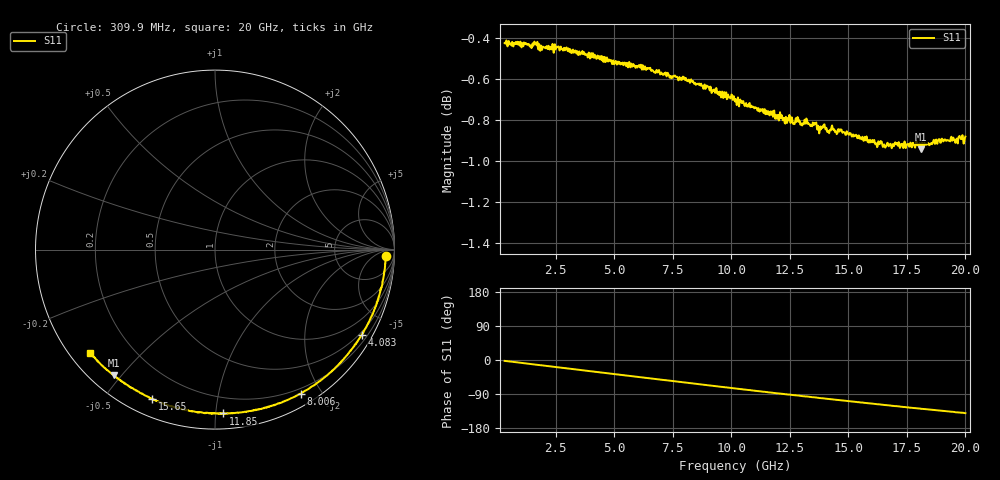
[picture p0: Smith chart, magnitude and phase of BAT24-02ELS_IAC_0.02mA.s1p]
! Infineon Technologies  Discrete & RF Semiconductors
! BAT24-02ELS
! IAC = 0.02 mA
! One-Port S-Parameters
# Hz  S  MA  R  50
!f  S11
!Hz  Mag  Ang
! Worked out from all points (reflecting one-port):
!   789 points, 309.9 MHz to 20 GHz, reference 50 ohm
!   lowest |S11| = -0.9 dB at 18.1 GHz (marker M1), VSWR 18.45, Z = 3.33 - j23.9 ohm
!   phase of S11 starts at -2 deg and turns -138 deg over the sweep
!   S11 on the Smith chart (normalised r, x): 309.9 MHz: 24, -20; 4.083 GHz: 0.40, -3.65; 8.006 GHz: 0.14, -1.75; 11.85 GHz: 0.09, -1.05; 15.65 GHz: 0.07, -0.66; 20 GHz: 0.06, -0.36
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3.0985e8  0.9521 -2.3
8.59575e8  0.9528 -6.4
1.584212e9  0.9528 -11.8
2.783612e9  0.9487 -20.7
3.558225e9  0.9467 -26.5
4.082962e9  0.9467 -30.3
5.232388e9  0.9416 -38.9
5.782112e9  0.9404 -42.9
6.581712e9  0.9373 -48.9
7.70615e9  0.9338 -57.1
8.006e9  0.9333 -59.3
8.980512e9  0.9292 -66.4
1.015492e10  0.9214 -75.1
1.10045e10  0.9185 -81.1
1.185408e10  0.914 -87.1
1.262869e10  0.9101 -92.5
1.355322e10  0.9105 -98.6
1.375312e10  0.9051 -100.4
1.432784e10  0.9079 -103.9
1.507746e10  0.9053 -108.8
1.565218e10  0.9013 -112.9
1.635182e10  0.9001 -117.2
1.655172e10  0.899 -118.8
1.710145e10  0.8991 -122.2
1.755122e10  0.8996 -124.9
1.810095e10  0.8972 -128.8
1.892554e10  0.9004 -133.7
2e10  0.9035 -140.3
